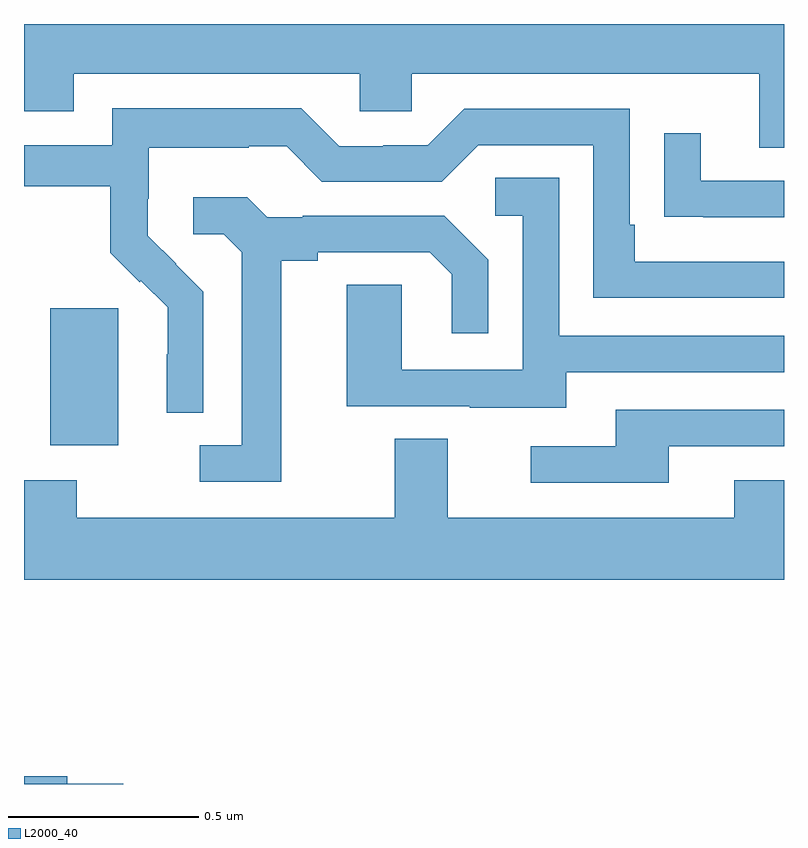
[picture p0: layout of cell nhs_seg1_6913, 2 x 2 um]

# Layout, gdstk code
import gdstk
lib = gdstk.Library(unit=1e-6, precision=1e-09)
def R(c, l, rs):  # rectangles x0, y0, x1, y1
    for r in rs: c.add(gdstk.rectangle(r[:2], r[2:], *l))
def P(c, l, *ps):  # polygons
    for p in ps: c.add(gdstk.Polygon(p, *l))
L2000_40 = (2000, 40)

nhs_seg1_6913 = lib.new_cell('nhs_seg1_6913')
R(nhs_seg1_6913, L2000_40, [(197.069,548.09,197.248,548.451)])
P(nhs_seg1_6913, L2000_40, [(199,549.199),(197,549.199),(197,548.969),(197.131,548.969),(197.131,549.068),(197.883,549.068),(197.883,548.97),(198.021,548.97),(198.021,549.068),(198.935,549.068),(198.935,548.874),(199,548.874)],
  [(197.472,548.494),(197.399,548.567),(197.4,548.568),(197.326,548.642),(197.326,548.739),(197.328,548.739),(197.328,548.873),(197.591,548.873),(197.591,548.877),(197.691,548.877),(197.784,548.784),(198.099,548.784),(198.195,548.88),(198.498,548.88),(198.498,548.478),(199,548.478),(199,548.574),(198.607,548.574),(198.607,548.671),(198.594,548.671),(198.594,548.976),(198.159,548.976),(198.063,548.88),(197.945,548.88),(197.945,548.877),(197.829,548.877),(197.729,548.977),(197.232,548.977),(197.232,548.88),(197,548.88),(197,548.772),(197.227,548.772),(197.227,548.597),(197.304,548.52),(197.307,548.523),(197.378,548.453),(197.378,548.33),(197.376,548.33),(197.376,548.176),(197.472,548.176)],
  [(199,548.787),(198.781,548.787),(198.781,548.911),(198.685,548.911),(198.685,548.692),(198.787,548.692),(198.787,548.691),(199,548.691)],
  [(198.427,548.283),(199,548.283),(199,548.379),(198.408,548.379),(198.408,548.795),(198.24,548.795),(198.24,548.694),(198.312,548.694),(198.312,548.289),(197.994,548.289),(197.994,548.513),(197.849,548.513),(197.849,548.193),(198.173,548.193),(198.173,548.189),(198.427,548.189)],
  [(197.677,548.576),(197.773,548.576),(197.773,548.598),(198.068,548.598),(198.125,548.541),(198.125,548.385),(198.222,548.385),(198.222,548.578),(198.106,548.694),(197.734,548.694),(197.734,548.691),(197.64,548.691),(197.588,548.743),(197.445,548.743),(197.445,548.646),(197.526,548.646),(197.573,548.599),(197.573,548.091),(197.463,548.091),(197.463,547.995),(197.677,547.995)],
  [(198.697,548.088),(199,548.088),(199,548.184),(198.557,548.184),(198.557,548.088),(198.333,548.088),(198.333,547.992),(198.697,547.992)],
  [(199,547.999),(198.869,547.999),(198.869,547.9),(198.115,547.9),(198.115,548.108),(197.975,548.108),(197.975,547.9),(197.139,547.9),(197.139,547.999),(197,547.999),(197,547.736),(199,547.736)],
  [(197.261,547.2),(197.114,547.2),(197.114,547.22),(197,547.22),(197,547.199),(197.261,547.199)])

lib.write_gds('nhs_seg1_6913.gds')
